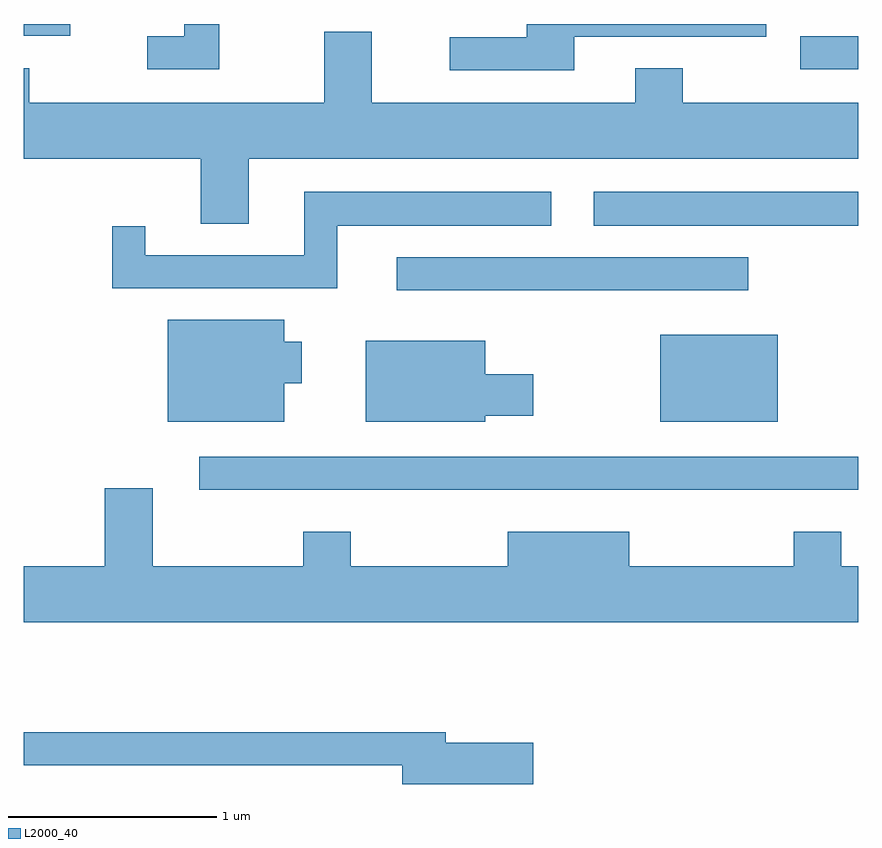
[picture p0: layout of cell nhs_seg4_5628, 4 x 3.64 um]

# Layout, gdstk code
import gdstk
lib = gdstk.Library(unit=1e-6, precision=1e-09)
def R(c, l, rs):  # rectangles x0, y0, x1, y1
    for r in rs: c.add(gdstk.rectangle(r[:2], r[2:], *l))
def P(c, l, *ps):  # polygons
    for p in ps: c.add(gdstk.Polygon(p, *l))
L2000_40 = (2000, 40)

nhs_seg4_5628 = lib.new_cell('nhs_seg4_5628')
R(nhs_seg4_5628, L2000_40, [(350.453,1359.751,353.611,1359.909), (352.661,1360.076,353.224,1360.494), (351.398,1360.706,353.083,1360.864), (352.343,1361.016,353.611,1361.179), (353.333,1361.766,353.611,1361.924), (349.611,1361.926,349.834,1361.982)])
P(nhs_seg4_5628, L2000_40, [(352.249,1361.921),(353.169,1361.921),(353.169,1361.982),(352.021,1361.982),(352.021,1361.919),(351.653,1361.919),(351.653,1361.761),(352.249,1361.761)],
  [(350.549,1361.982),(350.381,1361.982),(350.381,1361.924),(350.203,1361.924),(350.203,1361.766),(350.549,1361.766)],
  [(350.689,1361.336),(353.611,1361.336),(353.611,1361.604),(352.769,1361.604),(352.769,1361.769),(352.541,1361.769),(352.541,1361.604),(351.279,1361.604),(351.279,1361.944),(351.051,1361.944),(351.051,1361.604),(349.639,1361.604),(349.639,1361.769),(349.611,1361.769),(349.611,1361.336),(350.461,1361.336),(350.461,1361.026),(350.689,1361.026)],
  [(351.114,1361.016),(352.138,1361.016),(352.138,1361.179),(350.956,1361.179),(350.956,1360.874),(350.194,1360.874),(350.194,1361.013),(350.036,1361.013),(350.036,1360.716),(351.114,1360.716)],
  [(350.859,1360.261),(350.944,1360.261),(350.944,1360.459),(350.859,1360.459),(350.859,1360.564),(350.301,1360.564),(350.301,1360.076),(350.859,1360.076)],
  [(351.824,1360.106),(352.054,1360.106),(352.054,1360.304),(351.824,1360.304),(351.824,1360.464),(351.251,1360.464),(351.251,1360.076),(351.824,1360.076)],
  [(353.611,1359.384),(353.529,1359.384),(353.529,1359.549),(353.301,1359.549),(353.301,1359.384),(352.514,1359.384),(352.514,1359.549),(351.931,1359.549),(351.931,1359.384),(351.179,1359.384),(351.179,1359.549),(350.951,1359.549),(350.951,1359.384),(350.229,1359.384),(350.229,1359.759),(350.001,1359.759),(350.001,1359.384),(349.611,1359.384),(349.611,1359.116),(353.611,1359.116)],
  [(352.054,1358.539),(351.634,1358.539),(351.634,1358.589),(349.611,1358.589),(349.611,1358.431),(351.426,1358.431),(351.426,1358.341),(352.054,1358.341)])

lib.write_gds('nhs_seg4_5628.gds')
